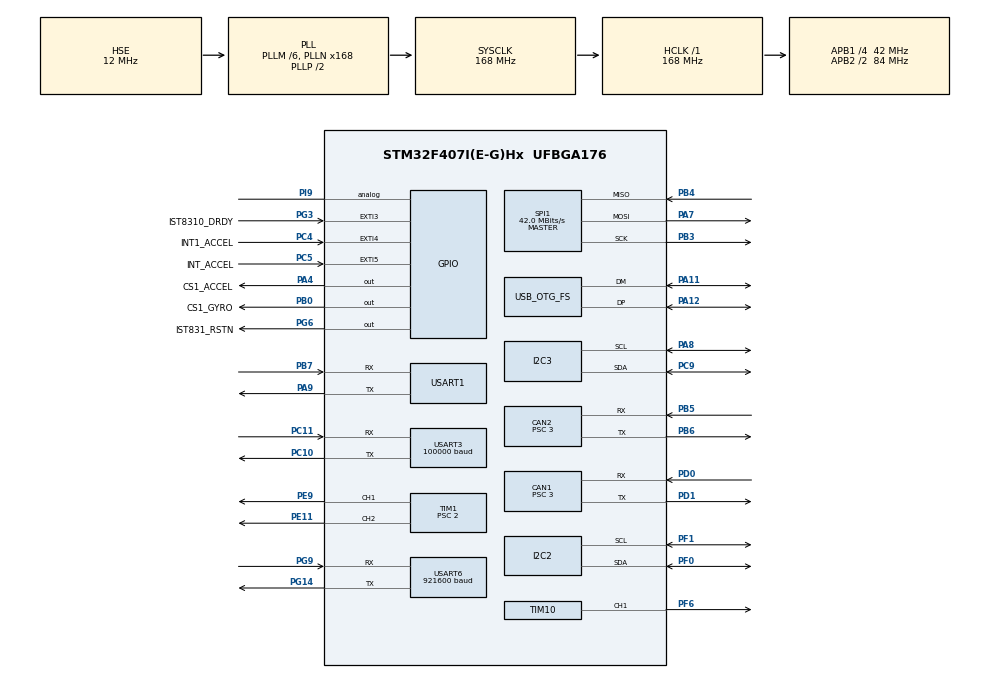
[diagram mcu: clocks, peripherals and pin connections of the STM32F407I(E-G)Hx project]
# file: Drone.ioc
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CAN1.BS1=CAN_BS1_10TQ
CAN1.BS2=CAN_BS2_3TQ
CAN1.CalculateBaudRate=1000000
CAN1.CalculateTimeBit=1000
CAN1.CalculateTimeQuantum=71.42857142857143
CAN1.Prescaler=3
CAN1.SJW=CAN_SJW_1TQ
CAN2.BS1=CAN_BS1_10TQ
CAN2.BS2=CAN_BS2_3TQ
CAN2.CalculateBaudRate=1000000
CAN2.CalculateTimeBit=1000
CAN2.CalculateTimeQuantum=71.42857142857143
CAN2.Prescaler=3
Dma.I2C2_TX.1.Direction=DMA_MEMORY_TO_PERIPH
Dma.I2C2_TX.1.FIFOMode=DMA_FIFOMODE_DISABLE
Dma.I2C2_TX.1.Instance=DMA1_Stream7
Dma.I2C2_TX.1.MemDataAlignment=DMA_MDATAALIGN_BYTE
Dma.I2C2_TX.1.MemInc=DMA_MINC_ENABLE
Dma.I2C2_TX.1.Mode=DMA_NORMAL
Dma.I2C2_TX.1.PeriphDataAlignment=DMA_PDATAALIGN_BYTE
Dma.I2C2_TX.1.PeriphInc=DMA_PINC_DISABLE
Dma.I2C2_TX.1.Priority=DMA_PRIORITY_MEDIUM
Dma.Request0=USART3_RX
Dma.Request1=I2C2_TX
Dma.Request2=USART6_RX
Dma.Request3=USART6_TX
Dma.Request4=USART1_RX
Dma.Request5=USART1_TX
Dma.Request6=TIM1_CH1
Dma.Request7=TIM1_CH2
Dma.TIM1_CH1.6.Direction=DMA_MEMORY_TO_PERIPH
Dma.TIM1_CH1.6.FIFOMode=DMA_FIFOMODE_DISABLE
Dma.TIM1_CH1.6.Instance=DMA2_Stream3
Dma.TIM1_CH1.6.MemDataAlignment=DMA_MDATAALIGN_HALFWORD
Dma.TIM1_CH1.6.MemInc=DMA_MINC_ENABLE
Dma.TIM1_CH1.6.Mode=DMA_NORMAL
Dma.TIM1_CH1.6.PeriphDataAlignment=DMA_PDATAALIGN_HALFWORD
Dma.TIM1_CH1.6.PeriphInc=DMA_PINC_DISABLE
Dma.TIM1_CH1.6.Priority=DMA_PRIORITY_HIGH
Dma.TIM1_CH2.7.Direction=DMA_MEMORY_TO_PERIPH
Dma.TIM1_CH2.7.FIFOMode=DMA_FIFOMODE_DISABLE
Dma.TIM1_CH2.7.Instance=DMA2_Stream2
Dma.TIM1_CH2.7.MemDataAlignment=DMA_MDATAALIGN_HALFWORD
Dma.TIM1_CH2.7.MemInc=DMA_MINC_ENABLE
Dma.TIM1_CH2.7.Mode=DMA_NORMAL
Dma.TIM1_CH2.7.PeriphDataAlignment=DMA_PDATAALIGN_HALFWORD
Dma.TIM1_CH2.7.PeriphInc=DMA_PINC_DISABLE
Dma.TIM1_CH2.7.Priority=DMA_PRIORITY_LOW
Dma.USART1_RX.4.Direction=DMA_PERIPH_TO_MEMORY
Dma.USART1_RX.4.FIFOMode=DMA_FIFOMODE_DISABLE
Dma.USART1_RX.4.Instance=DMA2_Stream5
Dma.USART1_RX.4.MemDataAlignment=DMA_MDATAALIGN_BYTE
Dma.USART1_RX.4.MemInc=DMA_MINC_ENABLE
Dma.USART1_RX.4.Mode=DMA_NORMAL
Dma.USART1_RX.4.PeriphDataAlignment=DMA_PDATAALIGN_BYTE
Dma.USART1_RX.4.PeriphInc=DMA_PINC_DISABLE
Dma.USART1_RX.4.Priority=DMA_PRIORITY_LOW
Dma.USART1_TX.5.Direction=DMA_MEMORY_TO_PERIPH
Dma.USART1_TX.5.FIFOMode=DMA_FIFOMODE_DISABLE
Dma.USART1_TX.5.Instance=DMA2_Stream7
Dma.USART1_TX.5.MemDataAlignment=DMA_MDATAALIGN_BYTE
Dma.USART1_TX.5.MemInc=DMA_MINC_ENABLE
Dma.USART1_TX.5.Mode=DMA_NORMAL
Dma.USART1_TX.5.PeriphDataAlignment=DMA_PDATAALIGN_BYTE
Dma.USART1_TX.5.PeriphInc=DMA_PINC_DISABLE
Dma.USART1_TX.5.Priority=DMA_PRIORITY_LOW
Dma.USART3_RX.0.Direction=DMA_PERIPH_TO_MEMORY
Dma.USART3_RX.0.FIFOMode=DMA_FIFOMODE_DISABLE
Dma.USART3_RX.0.Instance=DMA1_Stream1
Dma.USART3_RX.0.MemDataAlignment=DMA_MDATAALIGN_BYTE
Dma.USART3_RX.0.MemInc=DMA_MINC_ENABLE
Dma.USART3_RX.0.Mode=DMA_CIRCULAR
Dma.USART3_RX.0.PeriphDataAlignment=DMA_PDATAALIGN_BYTE
Dma.USART3_RX.0.PeriphInc=DMA_PINC_DISABLE
Dma.USART3_RX.0.Priority=DMA_PRIORITY_LOW
Dma.USART6_RX.2.Direction=DMA_PERIPH_TO_MEMORY
Dma.USART6_RX.2.FIFOMode=DMA_FIFOMODE_DISABLE
Dma.USART6_RX.2.Instance=DMA2_Stream1
Dma.USART6_RX.2.MemDataAlignment=DMA_MDATAALIGN_BYTE
Dma.USART6_RX.2.MemInc=DMA_MINC_ENABLE
Dma.USART6_RX.2.Mode=DMA_CIRCULAR
Dma.USART6_RX.2.PeriphDataAlignment=DMA_PDATAALIGN_BYTE
Dma.USART6_RX.2.PeriphInc=DMA_PINC_DISABLE
Dma.USART6_RX.2.Priority=DMA_PRIORITY_LOW
Dma.USART6_TX.3.Direction=DMA_MEMORY_TO_PERIPH
Dma.USART6_TX.3.FIFOMode=DMA_FIFOMODE_DISABLE
Dma.USART6_TX.3.Instance=DMA2_Stream6
Dma.USART6_TX.3.MemDataAlignment=DMA_MDATAALIGN_BYTE
Dma.USART6_TX.3.MemInc=DMA_MINC_ENABLE
Dma.USART6_TX.3.Mode=DMA_CIRCULAR
Dma.USART6_TX.3.PeriphDataAlignment=DMA_PDATAALIGN_BYTE
Dma.USART6_TX.3.PeriphInc=DMA_PINC_DISABLE
Dma.USART6_TX.3.Priority=DMA_PRIORITY_LOW
FREERTOS.Tasks01=Gimbal,0,256,gimbalControl,As weak,NULL,Dynamic,NULL,NULL;Shoot,-3,256,shootControl,As weak,NULL,Dynamic,NULL,NULL;AutoAiming,-3,256,autoAiming,As weak,NULL,Dynamic,NULL,NULL;Gimbal_RS05,-3,256,gimbalControl_RS05,As weak,NULL,Dynamic,NULL,NULL;USBTask,-3,256,USB,As weak,NULL,Dynamic,NULL,NULL;myTask06,-3,128,gc_task,As weak,NULL,Dynamic,NULL,NULL;myTask07,-3,128,control_switch,As weak,NULL,Dynamic,NULL,NULL;myTask08,-3,128,led,As weak,NULL,Dynamic,NULL,NULL;myTask09,-3,128,ui_task,As weak,NULL,Dynamic,NULL,NULL
I2C2.I2C_Mode=I2C_Fast
I2C3.I2C_Mode=I2C_Fast
Mcu.Family=STM32F4
Mcu.Name=STM32F407I(E-G)Hx
Mcu.Package=UFBGA176
NVIC.CAN1_RX0_IRQn=true\:5\:0\:false\:false\:true\:true\:true\:true\:true
NVIC.CAN2_RX1_IRQn=true\:5\:0\:false\:false\:true\:true\:true\:true\:true
NVIC.DMA1_Stream1_IRQn=true\:5\:0\:false\:false\:true\:true\:false\:true\:true
NVIC.DMA1_Stream7_IRQn=true\:5\:0\:false\:false\:true\:true\:false\:true\:true
NVIC.DMA2_Stream1_IRQn=true\:5\:0\:false\:false\:true\:true\:false\:true\:true
NVIC.DMA2_Stream2_IRQn=true\:5\:0\:false\:false\:true\:true\:false\:true\:true
NVIC.DMA2_Stream3_IRQn=true\:5\:0\:false\:false\:true\:true\:false\:true\:true
NVIC.DMA2_Stream5_IRQn=true\:5\:0\:false\:false\:true\:false\:false\:true\:true
NVIC.DMA2_Stream6_IRQn=true\:5\:0\:false\:false\:true\:true\:false\:true\:true
NVIC.DMA2_Stream7_IRQn=true\:5\:0\:false\:false\:true\:true\:false\:true\:true
NVIC.EXTI3_IRQn=true\:5\:0\:false\:false\:true\:true\:true\:true\:true
NVIC.I2C2_ER_IRQn=true\:5\:0\:false\:false\:true\:true\:true\:true\:true
NVIC.I2C2_EV_IRQn=true\:5\:0\:false\:false\:true\:true\:true\:true\:true
NVIC.OTG_FS_IRQn=true\:5\:0\:false\:false\:true\:true\:false\:true\:true
NVIC.PriorityGroup=NVIC_PRIORITYGROUP_4
NVIC.TIM1_CC_IRQn=true\:5\:0\:false\:false\:true\:true\:true\:true\:true
NVIC.TIM8_TRG_COM_TIM14_IRQn=true\:15\:0\:false\:false\:true\:false\:false\:true\:true
NVIC.TimeBase=TIM8_TRG_COM_TIM14_IRQn
NVIC.TimeBaseIP=TIM14
NVIC.USART1_IRQn=true\:5\:0\:false\:false\:true\:true\:false\:true\:true
NVIC.USART3_IRQn=true\:5\:0\:false\:false\:true\:true\:true\:true\:true
NVIC.USART6_IRQn=true\:5\:0\:false\:false\:true\:true\:true\:true\:true
PA11.Mode=Device_Only
PA11.Signal=USB_OTG_FS_DM
PA12.Mode=Device_Only
PA12.Signal=USB_OTG_FS_DP
PA13.Mode=Serial_Wire
PA13.Signal=SYS_JTMS-SWDIO
PA14.Mode=Serial_Wire
PA14.Signal=SYS_JTCK-SWCLK
PA4.GPIO_Label=CS1_ACCEL
PA4.GPIO_PuPd=GPIO_PULLUP
PA4.GPIO_Speed=GPIO_SPEED_FREQ_HIGH
PA4.PinState=GPIO_PIN_SET
PA4.Signal=GPIO_Output
PA7.Mode=Full_Duplex_Master
PA7.Signal=SPI1_MOSI
PA8.Mode=I2C
PA8.Signal=I2C3_SCL
PA9.Mode=Asynchronous
PA9.Signal=USART1_TX
PB0.GPIO_Label=CS1_GYRO
PB0.GPIO_PuPd=GPIO_PULLUP
PB0.GPIO_Speed=GPIO_SPEED_FREQ_HIGH
PB0.PinState=GPIO_PIN_SET
PB0.Signal=GPIO_Output
PB3.Mode=Full_Duplex_Master
PB3.Signal=SPI1_SCK
PB4.Mode=Full_Duplex_Master
PB4.Signal=SPI1_MISO
PB5.Mode=CAN_Activate
PB5.Signal=CAN2_RX
PB6.Mode=CAN_Activate
PB6.Signal=CAN2_TX
PB7.Mode=Asynchronous
PB7.Signal=USART1_RX
PC10.Mode=Asynchronous
PC10.Signal=USART3_TX
PC11.Mode=Asynchronous
PC11.Signal=USART3_RX
PC14-OSC32_IN.Mode=LSE-External-Oscillator
PC14-OSC32_IN.Signal=RCC_OSC32_IN
PC15-OSC32_OUT.Mode=LSE-External-Oscillator
PC15-OSC32_OUT.Signal=RCC_OSC32_OUT
PC4.GPIO_Label=INT1_ACCEL
PC4.GPIO_ModeDefaultEXTI=GPIO_MODE_IT_FALLING
PC4.GPIO_PuPd=GPIO_PULLUP
PC4.Signal=GPXTI4
PC5.GPIO_Label=INT_ACCEL
PC5.GPIO_ModeDefaultEXTI=GPIO_MODE_IT_FALLING
PC5.GPIO_PuPd=GPIO_PULLUP
PC5.Signal=GPXTI5
PC9.Mode=I2C
PC9.Signal=I2C3_SDA
PD0.Mode=CAN_Activate
PD0.Signal=CAN1_RX
PD1.Mode=CAN_Activate
PD1.Signal=CAN1_TX
PE11.Signal=S_TIM1_CH2
PE9.GPIO_Speed=GPIO_SPEED_FREQ_VERY_HIGH
PE9.Signal=S_TIM1_CH1
PF0.GPIO_Pu=GPIO_PULLUP
PF0.Mode=I2C
PF0.Signal=I2C2_SDA
PF1.GPIO_Pu=GPIO_PULLUP
PF1.Mode=I2C
PF1.Signal=I2C2_SCL
PF6.Signal=S_TIM10_CH1
PG14.Mode=Asynchronous
PG14.Signal=USART6_TX
PG3.GPIO_Label=IST8310_DRDY
PG3.GPIO_ModeDefaultEXTI=GPIO_MODE_IT_FALLING
PG3.GPIO_PuPd=GPIO_PULLUP
PG3.Signal=GPXTI3
PG6.GPIO_Label=IST831_RSTN
PG6.GPIO_PuPd=GPIO_PULLUP
PG6.GPIO_Speed=GPIO_SPEED_FREQ_MEDIUM
PG6.PinState=GPIO_PIN_SET
PG6.Signal=GPIO_Output
PG9.Mode=Asynchronous
PG9.Signal=USART6_RX
PH0-OSC_IN.Mode=HSE-External-Oscillator
PH0-OSC_IN.Signal=RCC_OSC_IN
PH1-OSC_OUT.Mode=HSE-External-Oscillator
PH1-OSC_OUT.Signal=RCC_OSC_OUT
PI9.Signal=GPIO_Analog
ProjectManager.HeapSize=0x200
ProjectManager.StackSize=0x400
ProjectManager.TargetToolchain=CMake
RCC.48MHZClocksFreq_Value=48000000
RCC.AHBFreq_Value=168000000
RCC.APB1CLKDivider=RCC_HCLK_DIV4
RCC.APB1Freq_Value=42000000
RCC.APB1TimFreq_Value=84000000
RCC.APB2CLKDivider=RCC_HCLK_DIV2
RCC.APB2Freq_Value=84000000
RCC.APB2TimFreq_Value=168000000
RCC.CortexFreq_Value=168000000
RCC.HCLKFreq_Value=168000000
RCC.HSE_VALUE=12000000
RCC.HSI_VALUE=16000000
RCC.PLLM=6
RCC.PLLN=168
RCC.PLLQ=7
RCC.SYSCLKFreq_VALUE=168000000
RCC.SYSCLKSource=RCC_SYSCLKSOURCE_PLLCLK
RCC.VCOOutputFreq_Value=336000000
SH.S_TIM10_CH1.0=TIM10_CH1,PWM Generation1 CH1
SH.S_TIM1_CH1.0=TIM1_CH1,PWM Generation1 CH1
SH.S_TIM1_CH2.0=TIM1_CH2,PWM Generation2 CH2
SPI1.CalculateBaudRate=42.0 MBits/s
SPI1.Direction=SPI_DIRECTION_2LINES
SPI1.Mode=SPI_MODE_MASTER
SPI1.VirtualType=VM_MASTER
TIM1.AutoReloadPreload=TIM_AUTORELOAD_PRELOAD_ENABLE
TIM1.AutomaticOutput=TIM_AUTOMATICOUTPUT_ENABLE
TIM1.BreakState=TIM_BREAK_DISABLE
TIM1.Channel-PWM\ Generation1\ CH1=TIM_CHANNEL_1
TIM1.Channel-PWM\ Generation2\ CH2=TIM_CHANNEL_2
TIM1.OCFastMode_PWM-PWM\ Generation1\ CH1=TIM_OCFAST_ENABLE
TIM1.OCPolarity_1=TIM_OCPOLARITY_HIGH
TIM1.Period=83
TIM1.Prescaler=2
TIM10.Channel=TIM_CHANNEL_1
USART1.VirtualMode=VM_ASYNC
USART3.BaudRate=100000
USART3.Parity=PARITY_EVEN
USART3.StopBits=STOPBITS_1
USART3.VirtualMode=VM_ASYNC
USART3.WordLength=WORDLENGTH_9B
USART6.BaudRate=921600
USART6.VirtualMode=VM_ASYNC
USB_DEVICE.CLASS_NAME_FS=CDC
USB_DEVICE.VirtualMode-CDC_FS=Cdc
USB_DEVICE.VirtualModeFS=Cdc_FS
USB_OTG_FS.VirtualMode=Device_Only
VP_FREERTOS_VS_CMSIS_V1.Mode=CMSIS_V1
VP_SYS_VS_tim14.Mode=TIM14
VP_TIM10_VS_ClockSourceINT.Mode=Enable_Timer
VP_TIM1_VS_ClockSourceINT.Mode=Internal
VP_USB_DEVICE_VS_USB_DEVICE_CDC_FS.Mode=CDC_FS
board=custom

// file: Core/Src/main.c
/* USER CODE BEGIN Header */
/**
  ******************************************************************************
  * @file           : main.c
  * @brief          : Main program body
  ******************************************************************************
  * @attention
  *
  * Copyright (c) 2025 STMicroelectronics.
  * All rights reserved.
  *
  * This software is licensed under terms that can be found in the LICENSE file
  * in the root directory of this software component.
  * If no LICENSE file comes with this software, it is provided AS-IS.
  *
  ******************************************************************************
  */
/* USER CODE END Header */
#include "main.h"
#include "cmsis_os.h"
#include "can.h"
#include "dma.h"
#include "i2c.h"
#include "spi.h"
#include "tim.h"
#include "usart.h"
#include "usb_device.h"
#include "gpio.h"

/* USER CODE BEGIN Includes */
#include <math.h>
#include <stdbool.h>

#include "bsp_can.h"
#include "RS05.h"
#include "dbus.h"
#include "pid.h"
#include "bsp_iic.h"
#include "vpc.hpp"
#include "ist8310.h"
#include "robot_status.h"
#include "ssd1306.h"
#include "video_transfer/video_transfer.h"
/* USER CODE END Includes */

/* USER CODE BEGIN PTD */
//d.bus
RC_t RC;
uint8_t RC_Data[18] = {0};

//can
motor_measure_t        motor_measure[4]        = {0};
motor_measure_RS05_t   motor_measure_RS05[1]   = {0};

// pid
pid_t speed_pid_CAN_3508_M1_ID;
pid_t speed_pid_CAN_3508_M2_ID;
pid_t speed_pid_CAN_2006_M3_ID;
pid_t angle_pid_CAN_2006_M3_ID;
pid_t speed_pid_CAN_6020_M4_ID;
pid_t angle_pid_CAN_6020_M4_ID;

pid_t speed_pid_CAN_RS05;
pid_t angle_pid_CAN_RS05;
/* USER CODE END PTD */

/* USER CODE BEGIN PV */
float magneticField[3];
float temperature;
/* USER CODE END PV */

void SystemClock_Config(void);
void MX_FREERTOS_Init(void);

int main(void)
{

  /* MCU Configuration--------------------------------------------------------*/

  /* Reset of all peripherals, Initializes the Flash interface and the Systick. */
  HAL_Init();

  /* Configure the system clock */
  SystemClock_Config();

  /* Initialize all configured peripherals */
  MX_GPIO_Init();
  MX_DMA_Init();
  MX_USART3_UART_Init();
  MX_CAN1_Init();
  MX_CAN2_Init();
  MX_I2C3_Init();
  MX_I2C2_Init();
  MX_SPI1_Init();
  MX_TIM10_Init();
  MX_USART1_UART_Init();
  MX_USART6_UART_Init();
  MX_TIM1_Init();
  /* USER CODE BEGIN 2 */

    vt_init();
    OLED_init();
    MX_USB_DEVICE_Init();
    // ist8310Init();
    CAN_Filter_Init();
    robot_status_init();

  HAL_UART_Receive_DMA(&huart3, RC_Data, 18);
  pidInit(&speed_pid_CAN_3508_M1_ID, 120, 0.1f, 20, 10000, 1000);  // 10000
  pidInit(&speed_pid_CAN_3508_M2_ID, 120, 0.1f, 20, 10000, 1000);  // 10000
  pidInit(&speed_pid_CAN_2006_M3_ID, 1000.0f, 0.0f, 0, 10000, 600);  // 10000
  pidInit(&angle_pid_CAN_2006_M3_ID, 5.0f, 0.0f, 0.0f, 2000.0f, 0.0f);  // 10000

  pidInit(&speed_pid_CAN_6020_M4_ID, 30.0f, 0.05f, 0.0f, 25000, 0);  // voltageMax 25000
  pidInit(&angle_pid_CAN_6020_M4_ID, 4000.0f, 0.8f, 200.0f, 600, 100); //p 8000

  pidInit(&speed_pid_CAN_RS05, 0.5f,0,0.0,5.0f,0.0f);
  pidInit(&angle_pid_CAN_RS05, 500,0.1f,0.0f,4.0f,0.0f); // p 1000

    HAL_TIM_PWM_Start(&htim1, TIM_CHANNEL_1);
    HAL_TIM_PWM_Start(&htim1, TIM_CHANNEL_2);
    HAL_GPIO_WritePin(GPIOE, GPIO_PIN_9, GPIO_PIN_RESET);
    HAL_GPIO_WritePin(GPIOE, GPIO_PIN_11, GPIO_PIN_RESET);

  /* USER CODE END 2 */

  /* Call init function for freertos objects (in cmsis_os2.c) */
  MX_FREERTOS_Init();

  /* Start scheduler */
  osKernelStart();

  /* We should never get here as control is now taken by the scheduler */

  /* Infinite loop */
  while (1)
  {

  }
}

void SystemClock_Config(void)
{
  RCC_OscInitTypeDef RCC_OscInitStruct = {0};
  RCC_ClkInitTypeDef RCC_ClkInitStruct = {0};

  /** Configure the main internal regulator output voltage
  */
  __HAL_RCC_PWR_CLK_ENABLE();
  __HAL_PWR_VOLTAGESCALING_CONFIG(PWR_REGULATOR_VOLTAGE_SCALE1);

  /** Initializes the RCC Oscillators according to the specified parameters
  * in the RCC_OscInitTypeDef structure.
  */
  RCC_OscInitStruct.OscillatorType = RCC_OSCILLATORTYPE_HSE;
  RCC_OscInitStruct.HSEState = RCC_HSE_ON;
  RCC_OscInitStruct.PLL.PLLState = RCC_PLL_ON;
  RCC_OscInitStruct.PLL.PLLSource = RCC_PLLSOURCE_HSE;
  RCC_OscInitStruct.PLL.PLLM = 6;
  RCC_OscInitStruct.PLL.PLLN = 168;
  RCC_OscInitStruct.PLL.PLLP = RCC_PLLP_DIV2;
  RCC_OscInitStruct.PLL.PLLQ = 7;
  if (HAL_RCC_OscConfig(&RCC_OscInitStruct) != HAL_OK)
  {
    Error_Handler();
  }

  /** Initializes the CPU, AHB and APB buses clocks
  */
  RCC_ClkInitStruct.ClockType = RCC_CLOCKTYPE_HCLK|RCC_CLOCKTYPE_SYSCLK
                              |RCC_CLOCKTYPE_PCLK1|RCC_CLOCKTYPE_PCLK2;
  RCC_ClkInitStruct.SYSCLKSource = RCC_SYSCLKSOURCE_PLLCLK;
  RCC_ClkInitStruct.AHBCLKDivider = RCC_SYSCLK_DIV1;
  RCC_ClkInitStruct.APB1CLKDivider = RCC_HCLK_DIV4;
  RCC_ClkInitStruct.APB2CLKDivider = RCC_HCLK_DIV2;

  if (HAL_RCC_ClockConfig(&RCC_ClkInitStruct, FLASH_LATENCY_5) != HAL_OK)
  {
    Error_Handler();
  }
}

/* USER CODE BEGIN 4 */
void HAL_UART_RxCpltCallback(UART_HandleTypeDef *huart) {
  (void)huart;   //消除未使用参数警告
  if (rcFrameValid(RC_Data)) {
    rcDecode();
  } else {
    // 丢弃,等待下一帧
  }

  if (huart == VT_UART_HANDEL) {
      vt_decode(vt_rx_buf,&vt_data);
  }
}

// void HAL_GPIO_EXTI_Callback(uint16_t GPIO_Pin) {
//   if (GPIO_Pin == IST8310_DRDY_Pin) {
//     ist8310ReadData(magneticField, &temperature);
//     direction = -atan2(magneticField[0],magneticField[1]) / M_PI * 180.0f + 70;
//     if (direction < 0) direction += 360;
//   }
// }
/* USER CODE END 4 */

void HAL_TIM_PeriodElapsedCallback(TIM_HandleTypeDef *htim)
{
  if (htim->Instance == TIM14)
  {
    HAL_IncTick();
  }
}

void Error_Handler(void)
{
  __disable_irq();
  while (1)
  {
  }
}

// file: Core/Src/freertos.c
/* USER CODE BEGIN Header */
/**
  ******************************************************************************
  * File Name          : freertos.c
  * Description        : Code for freertos applications
  ******************************************************************************
  * @attention
  *
  * Copyright (c) 2025 STMicroelectronics.
  * All rights reserved.
  *
  * This software is licensed under terms that can be found in the LICENSE file
  * in the root directory of this software component.
  * If no LICENSE file comes with this software, it is provided AS-IS.
  *
  ******************************************************************************
  */
/* USER CODE END Header */

#include "FreeRTOS.h"
#include "task.h"
#include "main.h"
#include "cmsis_os.h"

osThreadId GimbalHandle;
osThreadId ShootHandle;
osThreadId AutoAimingHandle;
osThreadId Gimbal_RS05Handle;
osThreadId USBTaskHandle;
osThreadId myTask06Handle;
osThreadId myTask07Handle;
osThreadId myTask08Handle;
osThreadId myTask09Handle;

void gimbalControl(void const * argument);
void shootControl(void const * argument);
void autoAiming(void const * argument);
void gimbalControl_RS05(void const * argument);
void USB(void const * argument);
void gc_task(void const * argument);
void control_switch(void const * argument);
void led(void const * argument);
void ui_task(void const * argument);

extern void MX_USB_DEVICE_Init(void);
void MX_FREERTOS_Init(void); /* (MISRA C 2004 rule 8.1) */

/* GetIdleTaskMemory prototype (linked to static allocation support) */
void vApplicationGetIdleTaskMemory( StaticTask_t **ppxIdleTaskTCBBuffer, StackType_t **ppxIdleTaskStackBuffer, uint32_t *pulIdleTaskStackSize );

/* USER CODE BEGIN GET_IDLE_TASK_MEMORY */
static StaticTask_t xIdleTaskTCBBuffer;
static StackType_t xIdleStack[configMINIMAL_STACK_SIZE];

void vApplicationGetIdleTaskMemory( StaticTask_t **ppxIdleTaskTCBBuffer, StackType_t **ppxIdleTaskStackBuffer, uint32_t *pulIdleTaskStackSize )
{
  *ppxIdleTaskTCBBuffer = &xIdleTaskTCBBuffer;
  *ppxIdleTaskStackBuffer = &xIdleStack[0];
  *pulIdleTaskStackSize = configMINIMAL_STACK_SIZE;
  /* place for user code */
}
/* USER CODE END GET_IDLE_TASK_MEMORY */

void MX_FREERTOS_Init(void) {

  /* Create the thread(s) */
  /* definition and creation of Gimbal */
  osThreadDef(Gimbal, gimbalControl, osPriorityNormal, 0, 256);
  GimbalHandle = osThreadCreate(osThread(Gimbal), NULL);

  /* definition and creation of Shoot */
  osThreadDef(Shoot, shootControl, osPriorityIdle, 0, 256);
  ShootHandle = osThreadCreate(osThread(Shoot), NULL);

  /* definition and creation of AutoAiming */
  osThreadDef(AutoAiming, autoAiming, osPriorityIdle, 0, 256);
  AutoAimingHandle = osThreadCreate(osThread(AutoAiming), NULL);

  /* definition and creation of Gimbal_RS05 */
  osThreadDef(Gimbal_RS05, gimbalControl_RS05, osPriorityIdle, 0, 256);
  Gimbal_RS05Handle = osThreadCreate(osThread(Gimbal_RS05), NULL);

  /* definition and creation of USBTask */
  osThreadDef(USBTask, USB, osPriorityIdle, 0, 256);
  USBTaskHandle = osThreadCreate(osThread(USBTask), NULL);

  /* definition and creation of myTask06 */
  osThreadDef(myTask06, gc_task, osPriorityIdle, 0, 128);
  myTask06Handle = osThreadCreate(osThread(myTask06), NULL);

  /* definition and creation of myTask07 */
  osThreadDef(myTask07, control_switch, osPriorityIdle, 0, 128);
  myTask07Handle = osThreadCreate(osThread(myTask07), NULL);

  /* definition and creation of myTask08 */
  osThreadDef(myTask08, led, osPriorityIdle, 0, 128);
  myTask08Handle = osThreadCreate(osThread(myTask08), NULL);

  /* definition and creation of myTask09 */
  osThreadDef(myTask09, ui_task, osPriorityIdle, 0, 128);
  myTask09Handle = osThreadCreate(osThread(myTask09), NULL);

}

__weak void gimbalControl(void const * argument)
{
  /* init code for USB_DEVICE */
  MX_USB_DEVICE_Init();
  for(;;)
  {
    osDelay(1);
  }
}

__weak void shootControl(void const * argument)
{
  for(;;)
  {
    osDelay(1);
  }
}

__weak void autoAiming(void const * argument)
{
  for(;;)
  {
    osDelay(1);
  }
}

__weak void gimbalControl_RS05(void const * argument)
{
  for(;;)
  {
    osDelay(1);
  }
}

__weak void USB(void const * argument)
{
  for(;;)
  {
    osDelay(1);
  }
}

__weak void gc_task(void const * argument)
{
  for(;;)
  {
    osDelay(1);
  }
}

__weak void control_switch(void const * argument)
{
  for(;;)
  {
    osDelay(1);
  }
}

__weak void led(void const * argument)
{
  for(;;)
  {
    osDelay(1);
  }
}

__weak void ui_task(void const * argument)
{
  for(;;)
  {
    osDelay(1);
  }
}
